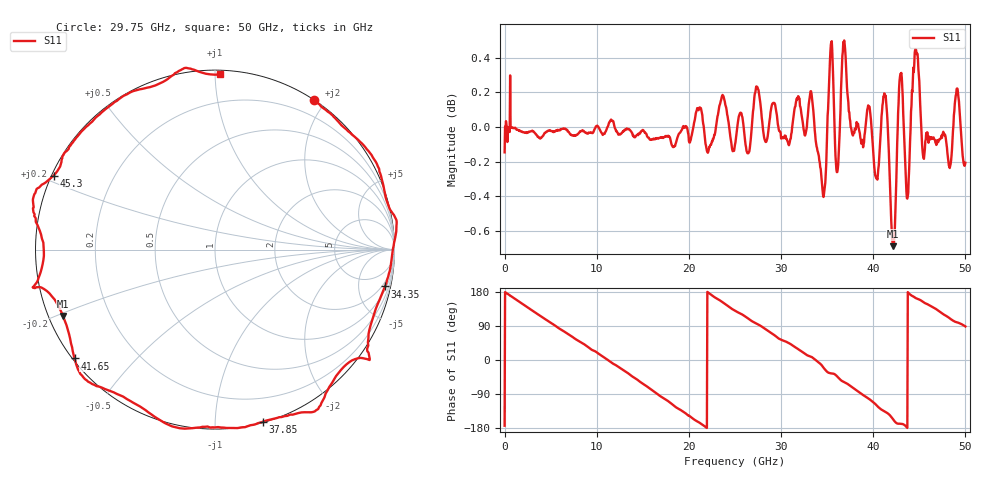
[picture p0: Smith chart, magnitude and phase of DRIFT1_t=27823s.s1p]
!Created with skrf (http://scikit-rf.org).
# Hz S RI R 50.0
!freq ReS11 ImS11
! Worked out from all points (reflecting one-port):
!   1001 points, 300 kHz to 50 GHz, reference 50 ohm
!   lowest |S11| = -0.7 dB at 42.15 GHz (marker M1), VSWR 25.30, Z = 2.06 - j10.4 ohm
!   phase of S11 starts at -173 deg and turns -818 deg over the sweep
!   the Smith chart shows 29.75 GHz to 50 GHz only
!   S11 on the Smith chart (normalised r, x): 29.75 GHz: 0.00, +1.86; 34.35 GHz: 1.36, -9.14; 37.85 GHz: 0.01, -1.32; 41.65 GHz: 0.01, -0.34; 45.3 GHz: 0.01, +0.22; 50 GHz: 0.02, +1.03
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300000  -0.9769 -0.1121
1.450291e9  -0.9123 0.4049
3.25028e9  -0.5918 0.8014
6.250262e9  0.2018 0.9782
9.500243e9  0.8922 0.4426
1.250022e10  0.9318 -0.3493
1.580021e10  0.2378 -0.9626
1.73502e10  -0.2107 -0.9707
1.875019e10  -0.5981 -0.7926
2.150017e10  -0.9925 -0.1537
2.350016e10  -0.9238 0.4282
2.500015e10  -0.6332 0.759
2.740014e10  -0.0952 1.023
2.975012e10  0.5503 0.8329
3.125011e10  0.7869 0.6208
3.31501e10  1.007 0.1731
3.435009e10  0.9471 -0.2051
3.520009e10  0.8553 -0.5736
3.750008e10  0.3714 -0.9329
3.785007e10  0.2678 -0.9588
3.960006e10  -0.2392 -0.9849
4.165005e10  -0.7825 -0.6066
4.215005e10  -0.8466 -0.3701
4.290004e10  -1.012 -0.2122
4.375004e10  -0.9551 0.0141
4.530003e10  -0.8982 0.4128
4.770001e10  -0.4884 0.8663
5e10  0.0252 0.9762
